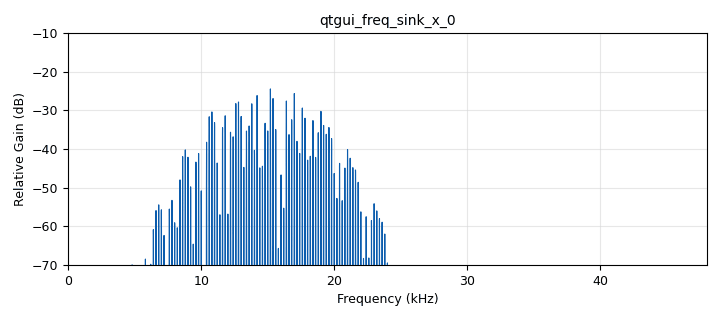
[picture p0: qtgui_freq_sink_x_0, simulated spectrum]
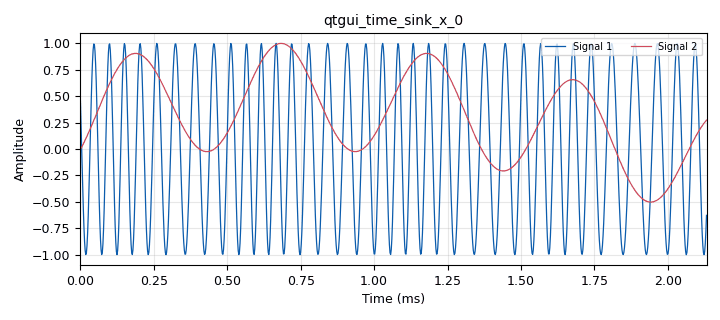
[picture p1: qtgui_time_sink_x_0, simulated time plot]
options:
  parameters:
    author: mdoallo
    generate_options: qt_gui
    id: Exponencial_multitono
    output_language: python
    title: Modulación exponencial multitono
  states: {}

blocks:
- name: Desvio
  id: variable_qtgui_range
  parameters:
    gui_hint: 0,1,1,1
    label: Desvio de frecuencia [KHz/Volts]
    start: '0.1'
    step: '0.1'
    stop: '10'
    value: '5'
    widget: counter
  states: {}
- name: Desvio_fase
  id: variable_qtgui_range
  parameters:
    gui_hint: 0,2,1,1
    label: Desvio de fase [1/Volts]
    start: '0.1'
    step: '0.1'
    stop: '10'
    value: '5'
    widget: counter
  states: {}
- name: Selector
  id: variable_qtgui_chooser
  parameters:
    gui_hint: 0,3,1,1
    label: Modulación
    label0: FM
    label1: PM
    num_opts: '2'
    option0: '0'
    option1: '1'
    type: int
    value: '0'
  states: {}
- name: amplitud_mod
  id: variable_qtgui_range
  parameters:
    gui_hint: 1,2,1,1
    label: Amplitud de modulante [Volts]
    start: '0'
    step: '0.05'
    stop: '1'
    value: '1'
    widget: counter
  states: {}
- name: balance
  id: variable_qtgui_range
  parameters:
    gui_hint: 1,3,1,3
    label: Balande de los tonos modulantes
    min_len: '41'
    start: '-1'
    step: '0.05'
    stop: '1'
    value: '0'
  states: {}
- name: f1
  id: variable_qtgui_range
  parameters:
    gui_hint: 1,0,1,1
    label: Frec. de modulante 1 [KHz]
    start: '0.1'
    step: '0.1'
    stop: '4'
    value: '0.2'
    widget: counter
  states: {}
- name: f1_OK
  id: variable_qtgui_check_box
  parameters:
    'false': 'False'
    gui_hint: 0,4,1,1
    label: Tono 1
    'true': 'True'
    type: real
    value: 'True'
  states: {}
- name: f2
  id: variable_qtgui_range
  parameters:
    gui_hint: 1,1,1,1
    label: Frec. de modulante 2 [KHz]
    start: '0.1'
    step: '0.1'
    stop: '4'
    value: '2'
    widget: counter
  states: {}
- name: f2_OK
  id: variable_qtgui_check_box
  parameters:
    'false': 'False'
    gui_hint: 0,5,1,1
    label: Tono 2
    'true': 'True'
    type: real
    value: 'True'
  states: {}
- name: freq
  id: variable_qtgui_range
  parameters:
    gui_hint: 0,0,1,1
    label: Frecuencia de portadora [KHz]
    start: '5'
    step: '1'
    stop: '30'
    value: '15'
    widget: counter
  states: {}
- name: samp_rate
  id: variable
  parameters:
    value: '480000'
  states: {}
- name: analog_frequency_modulator_fc_0
  id: analog_frequency_modulator_fc
  parameters:
    sensitivity: 13.0899694e-3*Desvio
  states: {}
- name: analog_phase_modulator_fc_0
  id: analog_phase_modulator_fc
  parameters:
    sensitivity: 1*Desvio_fase
  states: {}
- name: analog_sig_source_x_0
  id: analog_sig_source_x
  parameters:
    amp: (amplitud_mod - balance)/2*f1_OK
    freq: f1*1e3
    offset: '0'
    phase: '0'
    samp_rate: samp_rate
    type: float
    waveform: analog.GR_COS_WAVE
  states: {}
- name: analog_sig_source_x_0_0
  id: analog_sig_source_x
  parameters:
    amp: '1'
    freq: freq*1e3
    offset: '0'
    phase: '0'
    samp_rate: samp_rate
    type: complex
    waveform: analog.GR_COS_WAVE
  states: {}
- name: analog_sig_source_x_0_1
  id: analog_sig_source_x
  parameters:
    amp: (amplitud_mod + balance)/2*f2_OK
    freq: f2*1e3
    offset: '0'
    phase: '0'
    samp_rate: samp_rate
    type: float
    waveform: analog.GR_COS_WAVE
  states: {}
- name: blocks_add_xx_0
  id: blocks_add_xx
  parameters:
    type: float
  states: {}
- name: blocks_complex_to_real_0
  id: blocks_complex_to_real
  parameters: {}
  states: {}
- name: blocks_delay_0
  id: blocks_delay
  parameters:
    delay: '32'
    type: float
  states: {}
- name: blocks_multiply_xx_0
  id: blocks_multiply_xx
  parameters:
    type: complex
  states: {}
- name: blocks_selector_0
  id: blocks_selector
  parameters:
    enabled: 'True'
    input_index: Selector
    num_inputs: '2'
    num_outputs: '1'
    output_index: '0'
    type: complex
  states: {}
- name: blocks_throttle2_0
  id: blocks_throttle2
  parameters:
    samples_per_second: samp_rate
    type: float
  states: {}
- name: qtgui_freq_sink_x_0
  id: qtgui_freq_sink_x
  parameters:
    bw: samp_rate/5
    ctrlpanel: 'True'
    fc: '0'
    fftsize: '16384'
    freqhalf: 'False'
    gui_hint: qtgui_tab@1:0,0,5,5
    type: float
    ymax: '-10'
    ymin: '-70'
  states: {}
- name: qtgui_tab
  id: qtgui_tab_widget
  parameters:
    gui_hint: 2,0,6,6
    label0: Dominio temporal
    label1: Dominio espectral
    num_tabs: '2'
  states: {}
- name: qtgui_time_sink_x_0
  id: qtgui_time_sink_x
  parameters:
    ctrlpanel: 'True'
    grid: 'True'
    gui_hint: qtgui_tab@0:0,0,5,5
    nconnections: '2'
    size: '1024'
    srate: samp_rate
    tr_chan: '1'
    tr_mode: qtgui.TRIG_MODE_AUTO
    type: float
    ymax: '1.1'
    ymin: '-1.1'
  states: {}
- name: rational_resampler_xxx_0
  id: rational_resampler_xxx
  parameters:
    decim: '5'
    interp: '1'
    type: fff
  states: {}
- name: virtual_sink_0
  id: virtual_sink
  parameters:
    stream_id: modulante
  states: {}
- name: virtual_source_0
  id: virtual_source
  parameters:
    stream_id: modulante
  states: {}
- name: virtual_source_0_0
  id: virtual_source
  parameters:
    stream_id: modulante
  states: {}

connections:
- [analog_frequency_modulator_fc_0, '0', blocks_selector_0, '0']
- [analog_phase_modulator_fc_0, '0', blocks_selector_0, '1']
- [analog_sig_source_x_0, '0', blocks_add_xx_0, '0']
- [analog_sig_source_x_0_0, '0', blocks_multiply_xx_0, '1']
- [analog_sig_source_x_0_1, '0', blocks_add_xx_0, '1']
- [blocks_add_xx_0, '0', virtual_sink_0, '0']
- [blocks_complex_to_real_0, '0', blocks_throttle2_0, '0']
- [blocks_delay_0, '0', qtgui_time_sink_x_0, '1']
- [blocks_multiply_xx_0, '0', blocks_complex_to_real_0, '0']
- [blocks_selector_0, '0', blocks_multiply_xx_0, '0']
- [blocks_throttle2_0, '0', qtgui_time_sink_x_0, '0']
- [blocks_throttle2_0, '0', rational_resampler_xxx_0, '0']
- [rational_resampler_xxx_0, '0', qtgui_freq_sink_x_0, '0']
- [virtual_source_0, '0', analog_frequency_modulator_fc_0, '0']
- [virtual_source_0, '0', analog_phase_modulator_fc_0, '0']
- [virtual_source_0_0, '0', blocks_delay_0, '0']

metadata:
  file_format: 1
  grc_version: 3.10.12.0
